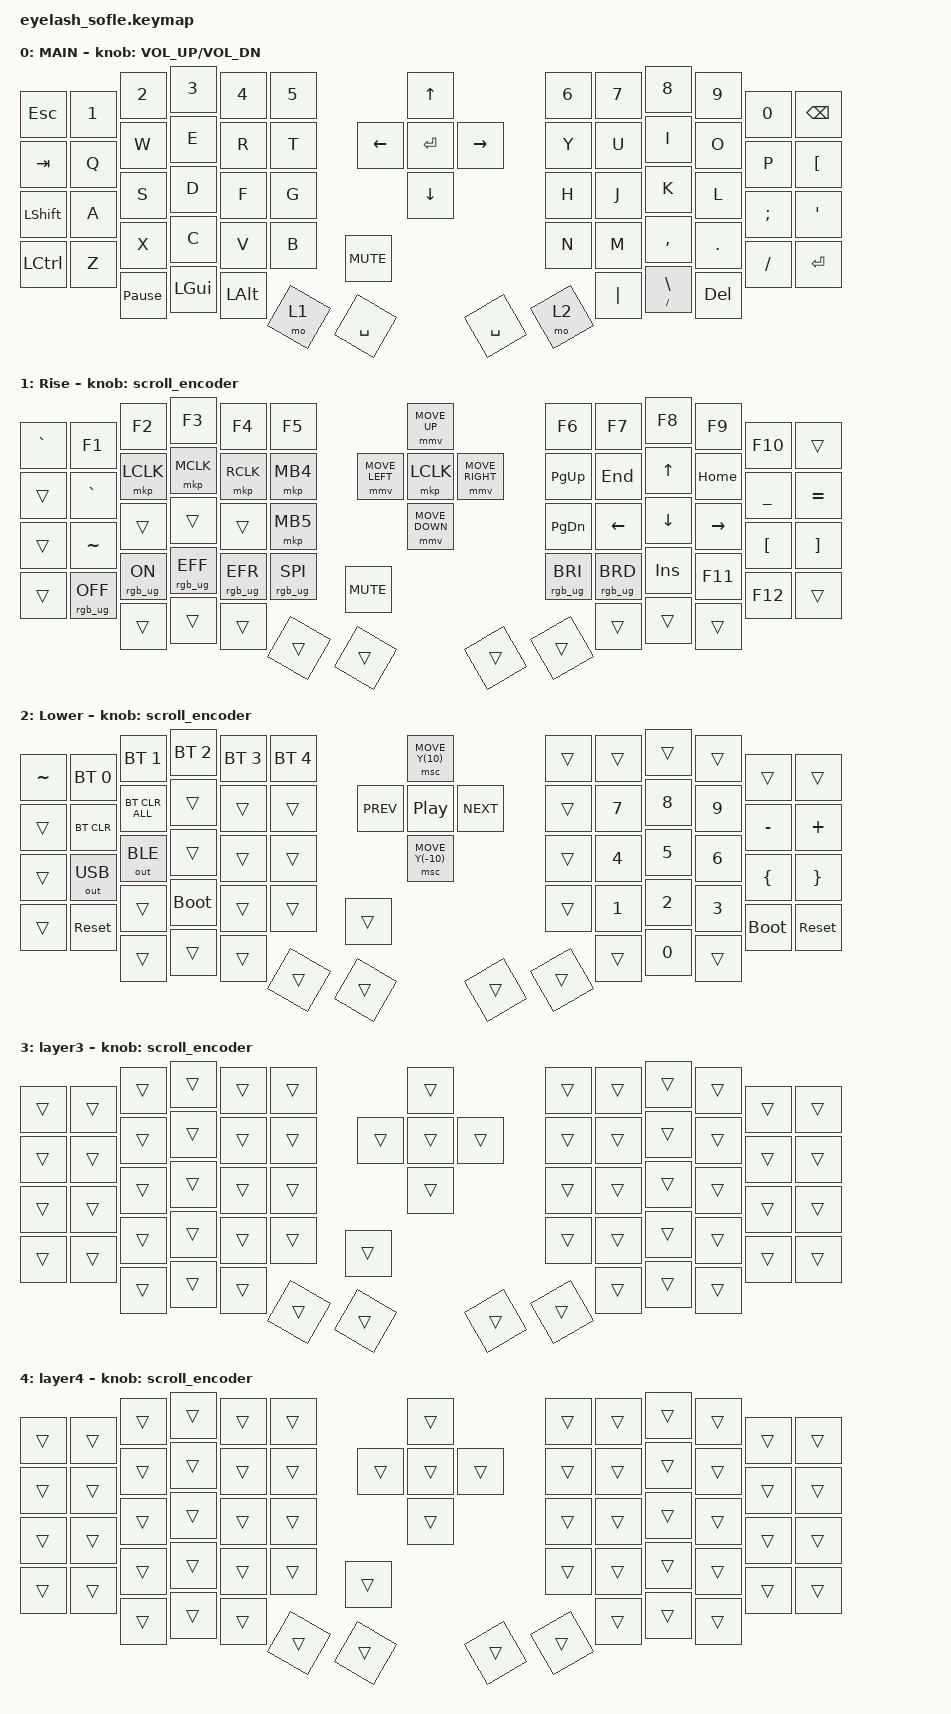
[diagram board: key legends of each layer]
#define ZMK_POINTING_DEFAULT_MOVE_VAL 1200  // 600
#define ZMK_POINTING_DEFAULT_SCRL_VAL 25   // 10

#include <input/processors.dtsi>
#include <zephyr/dt-bindings/input/input-event-codes.h>
#include <behaviors.dtsi>
#include <dt-bindings/zmk/bt.h>
#include <dt-bindings/zmk/keys.h>
#include <dt-bindings/zmk/outputs.h>
#include <dt-bindings/zmk/pointing.h>
#include <dt-bindings/zmk/rgb.h>

&mmv_input_listener { input-processors = <&zip_xy_scaler 2 1>; };

&msc_input_listener { input-processors = <&zip_scroll_scaler 2 1>; };

&msc {
    acceleration-exponent = <1>;      // 0
    time-to-max-speed-ms = <100>;       // 300
    delay-ms = <0>;                   // 0
};

&mmv {
    time-to-max-speed-ms = <500>;
    acceleration-exponent = <1>;
    trigger-period-ms = <16>;
};

&soft_off { hold-time-ms = <2000>; };

/ {
    scroll_encoder: scroll_encoder {
        compatible = "zmk,behavior-sensor-rotate";
        #sensor-binding-cells = <0>;
        bindings = <&msc SCRL_DOWN>, <&msc SCRL_UP>;

        tap-ms = <100>;
    };

    behaviors {
    };

    combos {
        compatible = "zmk,combos";

        softoff {
            bindings = <&soft_off>;
            key-positions = <14 28 40>;
        };

        LBracket {
            bindings = <&kp LEFT_BRACKET>;
            key-positions = <17 18>;
        };

        LBrace {
            bindings = <&kp LEFT_BRACE>;
            key-positions = <30 31>;
        };

        RBracket {
            bindings = <&kp RIGHT_BRACKET>;
            key-positions = <20 21>;
        };

        RBrace {
            bindings = <&kp RIGHT_BRACE>;
            key-positions = <33 34>;
        };
    };

    macros {
        SHIFT_MCLK: SHIFT_MCLK {
            compatible = "zmk,behavior-macro";
            #binding-cells = <0>;
            bindings =
                <&macro_press>,
                <&kp LEFT_SHIFT>,
                <&macro_press>,
                <&mkp MB3>,
                <&macro_pause_for_release>,
                <&macro_release>,
                <&kp LEFT_SHIFT &mkp MB3>;

            label = "SHIFT_MCLK";
        };
    };

    keymap {
        compatible = "zmk,keymap";

        Main {
            bindings = <
&kp ESC         &kp N1           &kp N2        &kp N3        &kp N4  &kp N5       &kp UP_ARROW     &kp N6     &kp N7  &kp N8     &kp N9               &kp N0      &kp BACKSPACE
&kp TAB         &kp Q            &kp W         &kp E         &kp R   &kp T        &kp DOWN_ARROW   &kp Y      &kp U   &kp I      &kp O                &kp P       &kp LEFT_BRACKET
&kp LEFT_SHIFT  &kp A            &kp S         &kp D         &kp F   &kp G        &kp LEFT_ARROW   &kp H      &kp J   &kp K      &kp L                &kp SEMI    &kp APOS
&kp LCTRL       &kp Z            &kp X         &kp C         &kp V   &kp B        &kp RIGHT_ARROW  &kp N      &kp M   &kp COMMA  &kp DOT              &kp FSLH    &kp ENTER
&kp C_MUTE      &kp PAUSE_BREAK  &kp LEFT_GUI  &kp LEFT_ALT  &mo 1   &kp SPACE    &kp ENTER        &kp SPACE  &mo 2   &kp PIPE   &mt SLASH BACKSLASH  &kp DELETE
            >;

            sensor-bindings = <&inc_dec_kp C_VOLUME_UP C_VOL_DN>;
            display-name = "MAIN";
        };

        Rise {
            bindings = <
&kp GRAVE   &kp F1           &kp F2          &kp F3           &kp F4           &kp F5             &mmv MOVE_UP     &kp F6           &kp F7           &kp F8      &kp F9     &kp F10           &trans
&trans      &kp GRAVE        &mkp LCLK       &mkp MCLK        &mkp RCLK        &mkp MB4           &mmv MOVE_DOWN   &kp PG_UP        &kp END          &kp UP      &kp HOME   &kp UNDER         &kp EQUAL
&trans      &kp TILDE        &trans          &trans           &trans           &mkp MB5           &mmv MOVE_LEFT   &kp PG_DN        &kp LEFT         &kp DOWN    &kp RIGHT  &kp LEFT_BRACKET  &kp RIGHT_BRACKET
&trans      &rgb_ug RGB_OFF  &rgb_ug RGB_ON  &rgb_ug RGB_EFF  &rgb_ug RGB_EFR  &rgb_ug RGB_SPI    &mmv MOVE_RIGHT  &rgb_ug RGB_BRI  &rgb_ug RGB_BRD  &kp INSERT  &kp F11    &kp F12           &trans
&kp C_MUTE  &trans           &trans          &trans           &trans           &trans             &mkp LCLK        &trans           &trans           &trans      &trans     &trans
            >;

            display-name = "Rise";
            sensor-bindings = <&scroll_encoder>;
        };

        Lower {
            bindings = <
&kp TILDE  &bt BT_SEL 0  &bt BT_SEL 1    &bt BT_SEL 2  &bt BT_SEL 3  &bt BT_SEL 4    &msc MOVE_Y(10)   &trans  &trans        &trans        &trans        &trans       &trans
&trans     &bt BT_CLR    &bt BT_CLR_ALL  &trans        &trans        &trans          &msc MOVE_Y(-10)  &trans  &kp NUMBER_7  &kp NUMBER_8  &kp NUMBER_9  &kp MINUS    &kp PLUS
&trans     &out OUT_USB  &out OUT_BLE    &trans        &trans        &trans          &kp C_PREV        &trans  &kp NUMBER_4  &kp NUMBER_5  &kp NUMBER_6  &kp LBRC     &kp RBRC
&trans     &sys_reset    &trans          &bootloader   &trans        &trans          &kp C_NEXT        &trans  &kp NUMBER_1  &kp NUMBER_2  &kp NUMBER_3  &bootloader  &sys_reset
&trans     &trans        &trans          &trans        &trans        &trans          &kp C_PP          &trans  &trans        &trans        &kp NUMBER_0  &trans
            >;

            display-name = "Lower";
            sensor-bindings = <&scroll_encoder>;
        };

        layer_3 {
            bindings = <
&trans  &trans  &trans  &trans  &trans  &trans    &trans  &trans  &trans  &trans  &trans  &trans  &trans
&trans  &trans  &trans  &trans  &trans  &trans    &trans  &trans  &trans  &trans  &trans  &trans  &trans
&trans  &trans  &trans  &trans  &trans  &trans    &trans  &trans  &trans  &trans  &trans  &trans  &trans
&trans  &trans  &trans  &trans  &trans  &trans    &trans  &trans  &trans  &trans  &trans  &trans  &trans
&trans  &trans  &trans  &trans  &trans  &trans    &trans  &trans  &trans  &trans  &trans  &trans
            >;

            display-name = "layer3";
            sensor-bindings = <&scroll_encoder>;
        };

        layer_4 {
            bindings = <
&trans  &trans  &trans  &trans  &trans  &trans    &trans  &trans  &trans  &trans  &trans  &trans  &trans
&trans  &trans  &trans  &trans  &trans  &trans    &trans  &trans  &trans  &trans  &trans  &trans  &trans
&trans  &trans  &trans  &trans  &trans  &trans    &trans  &trans  &trans  &trans  &trans  &trans  &trans
&trans  &trans  &trans  &trans  &trans  &trans    &trans  &trans  &trans  &trans  &trans  &trans  &trans
&trans  &trans  &trans  &trans  &trans  &trans    &trans  &trans  &trans  &trans  &trans  &trans
            >;

            display-name = "layer4";
            sensor-bindings = <&scroll_encoder>;
        };
    };
};
